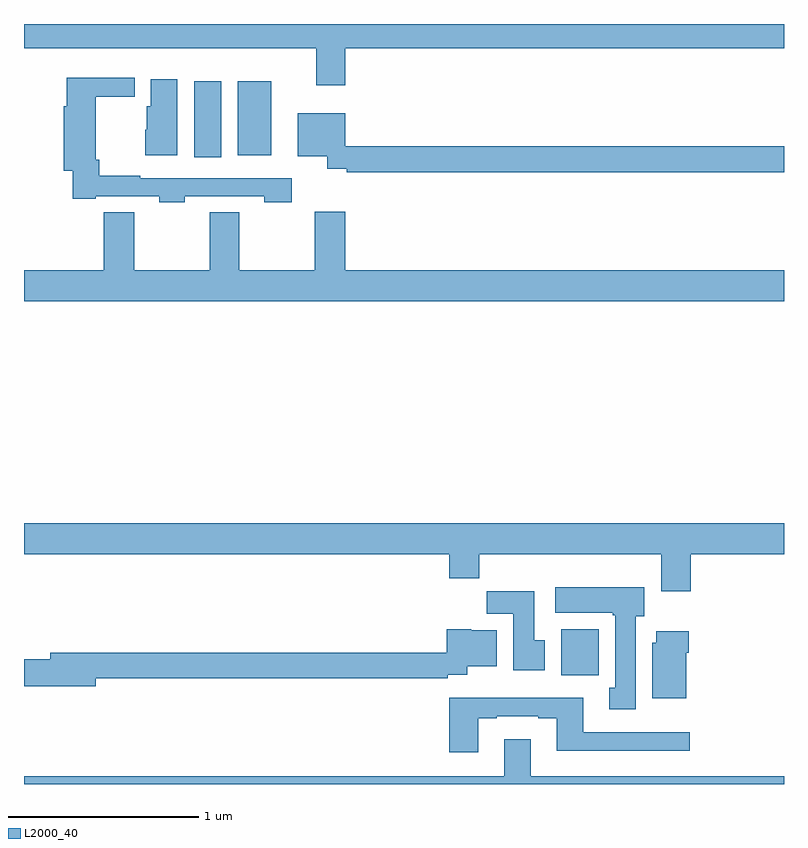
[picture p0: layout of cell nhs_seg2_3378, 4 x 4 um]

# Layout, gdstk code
import gdstk
lib = gdstk.Library(unit=1e-6, precision=1e-09)
def R(c, l, rs):  # rectangles x0, y0, x1, y1
    for r in rs: c.add(gdstk.rectangle(r[:2], r[2:], *l))
def P(c, l, *ps):  # polygons
    for p in ps: c.add(gdstk.Polygon(p, *l))
L2000_40 = (2000, 40)

nhs_seg2_3378 = lib.new_cell('nhs_seg2_3378')
R(nhs_seg2_3378, L2000_40, [(291.827,608.372,292.024,608.614), (289.895,611.1,290.038,611.5), (290.126,611.108,290.302,611.5)])
P(nhs_seg2_3378, L2000_40, [(290.69,611.672),(293,611.672),(293,611.8),(289,611.8),(289,611.672),(290.537,611.672),(290.537,611.478),(290.69,611.478)],
  [(289.845,610.893),(290.265,610.893),(290.265,610.861),(290.41,610.861),(290.41,610.989),(289.613,610.989),(289.613,611.002),(289.396,611.002),(289.396,611.086),(289.378,611.086),(289.378,611.416),(289.582,611.416),(289.582,611.518),(289.226,611.518),(289.226,611.367),(289.208,611.367),(289.208,611.027),(289.257,611.027),(289.257,610.881),(289.378,610.881),(289.378,610.893),(289.713,610.893),(289.713,610.861),(289.845,610.861)],
  [(289.807,611.509),(289.667,611.509),(289.667,611.367),(289.646,611.367),(289.646,611.244),(289.637,611.244),(289.637,611.108),(289.807,611.108)],
  [(293,611.156),(290.691,611.156),(290.691,611.329),(290.441,611.329),(290.441,611.105),(290.595,611.105),(290.595,611.038),(290.698,611.038),(290.698,611.02),(293,611.02)],
  [(293,610.504),(290.69,610.504),(290.69,610.813),(290.53,610.813),(290.53,610.504),(290.132,610.504),(290.132,610.808),(289.978,610.808),(289.978,610.504),(289.58,610.504),(289.58,610.808),(289.421,610.808),(289.421,610.504),(289,610.504),(289,610.34),(293,610.34)],
  [(292.508,609.008),(293,609.008),(293,609.172),(289,609.172),(289,609.008),(291.239,609.008),(291.239,608.884),(291.395,608.884),(291.395,609.008),(292.355,609.008),(292.355,608.814),(292.508,608.814)],
  [(292.219,608.682),(292.264,608.682),(292.264,608.836),(291.795,608.836),(291.795,608.702),(292.099,608.702),(292.099,608.689),(292.112,608.689),(292.112,608.306),(292.079,608.306),(292.079,608.193),(292.219,608.193)],
  [(291.742,608.556),(291.685,608.556),(291.685,608.815),(291.436,608.815),(291.436,608.696),(291.575,608.696),(291.575,608.4),(291.742,608.4)],
  [(289.378,608.356),(291.23,608.356),(291.23,608.376),(291.333,608.376),(291.333,608.42),(291.487,608.42),(291.487,608.608),(291.354,608.608),(291.354,608.614),(291.225,608.614),(291.225,608.492),(289.139,608.492),(289.139,608.456),(289,608.456),(289,608.314),(289.378,608.314)],
  [(292.486,608.492),(292.499,608.492),(292.499,608.605),(292.328,608.605),(292.328,608.544),(292.307,608.544),(292.307,608.252),(292.486,608.252)],
  [(291.391,608.145),(291.487,608.145),(291.487,608.157),(291.707,608.157),(291.707,608.145),(291.803,608.145),(291.803,607.976),(292.504,607.976),(292.504,608.073),(291.943,608.073),(291.943,608.254),(291.239,608.254),(291.239,607.968),(291.391,607.968)],
  [(293,607.84),(291.667,607.84),(291.667,608.035),(291.527,608.035),(291.527,607.84),(289,607.84),(289,607.8),(293,607.8)])

lib.write_gds('nhs_seg2_3378.gds')
